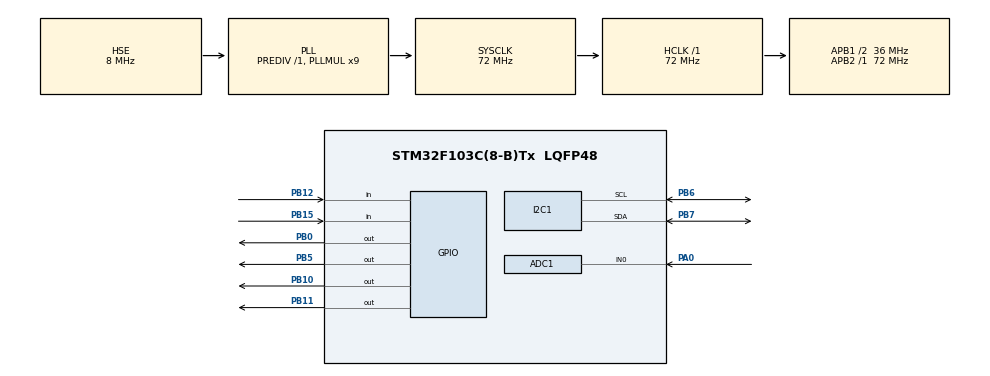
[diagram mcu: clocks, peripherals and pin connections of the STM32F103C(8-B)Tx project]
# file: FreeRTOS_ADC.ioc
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ADC1.Channel-1\#ChannelRegularConversion=ADC_CHANNEL_0
ADC1.ContinuousConvMode=ENABLE
ADC1.NbrOfConversion=1
ADC1.NbrOfConversionFlag=1
ADC1.Rank-1\#ChannelRegularConversion=1
ADC1.SamplingTime-1\#ChannelRegularConversion=ADC_SAMPLETIME_239CYCLES_5
ADC1.master=1
Dma.ADC1.0.Direction=DMA_PERIPH_TO_MEMORY
Dma.ADC1.0.Instance=DMA1_Channel1
Dma.ADC1.0.MemDataAlignment=DMA_MDATAALIGN_HALFWORD
Dma.ADC1.0.MemInc=DMA_MINC_ENABLE
Dma.ADC1.0.Mode=DMA_CIRCULAR
Dma.ADC1.0.PeriphDataAlignment=DMA_PDATAALIGN_HALFWORD
Dma.ADC1.0.PeriphInc=DMA_PINC_DISABLE
Dma.ADC1.0.Priority=DMA_PRIORITY_LOW
Dma.Request0=ADC1
FREERTOS.Mutexes01=I2C_Mutex,Dynamic,NULL,Available
FREERTOS.Queues01=Screen_Queue,4,ScreenMsg_t,0,Dynamic,NULL,NULL
FREERTOS.Tasks01=ADC_Task,24,128,StartTask_ADC,Default,NULL,Dynamic,NULL,NULL;VL53L0X_Task,25,128,StartTask_VL53L0X,Default,NULL,Dynamic,NULL,NULL;Button_Task,26,128,StartTask_Button,Default,NULL,Dynamic,NULL,NULL;OLED_Task,8,128,StartTask_OLED,Default,NULL,Dynamic,NULL,NULL
FREERTOS.configTOTAL_HEAP_SIZE=10240
FREERTOS.configUSE_NEWLIB_REENTRANT=1
Mcu.Family=STM32F1
Mcu.Name=STM32F103C(8-B)Tx
Mcu.Package=LQFP48
NVIC.DMA1_Channel1_IRQn=true\:5\:0\:false\:false\:true\:true\:false\:true\:true
NVIC.PriorityGroup=NVIC_PRIORITYGROUP_4
NVIC.TIM4_IRQn=true\:15\:0\:false\:false\:true\:false\:false\:true\:true
NVIC.TimeBase=TIM4_IRQn
NVIC.TimeBaseIP=TIM4
PA0-WKUP.Signal=ADCx_IN0
PA13.Mode=Serial_Wire
PA13.Signal=SYS_JTMS-SWDIO
PA14.Mode=Serial_Wire
PA14.Signal=SYS_JTCK-SWCLK
PB0.GPIO_ModeDefaultOutputPP=GPIO_MODE_OUTPUT_OD
PB0.GPIO_PuPd=GPIO_PULLUP
PB0.PinState=GPIO_PIN_SET
PB0.Signal=GPIO_Output
PB10.GPIO_ModeDefaultOutputPP=GPIO_MODE_OUTPUT_OD
PB10.GPIO_PuPd=GPIO_PULLUP
PB10.GPIO_Speed=GPIO_SPEED_FREQ_HIGH
PB10.Signal=GPIO_Output
PB11.GPIO_ModeDefaultOutputPP=GPIO_MODE_OUTPUT_OD
PB11.GPIO_PuPd=GPIO_PULLUP
PB11.GPIO_Speed=GPIO_SPEED_FREQ_HIGH
PB11.Signal=GPIO_Output
PB12.GPIO_PuPd=GPIO_PULLUP
PB12.Signal=GPIO_Input
PB15.GPIO_PuPd=GPIO_PULLUP
PB15.Signal=GPIO_Input
PB5.GPIO_PuPd=GPIO_PULLUP
PB5.Signal=GPIO_Output
PB6.Mode=I2C
PB6.Signal=I2C1_SCL
PB7.Mode=I2C
PB7.Signal=I2C1_SDA
PD0-OSC_IN.Mode=HSE-External-Oscillator
PD0-OSC_IN.Signal=RCC_OSC_IN
PD1-OSC_OUT.Mode=HSE-External-Oscillator
PD1-OSC_OUT.Signal=RCC_OSC_OUT
ProjectManager.HeapSize=0x200
ProjectManager.StackSize=0x400
ProjectManager.TargetToolchain=CMake
RCC.ADCPresc=RCC_ADCPCLK2_DIV6
RCC.AHBFreq_Value=72000000
RCC.APB1CLKDivider=RCC_HCLK_DIV2
RCC.APB1Freq_Value=36000000
RCC.APB1TimFreq_Value=72000000
RCC.APB2Freq_Value=72000000
RCC.APB2TimFreq_Value=72000000
RCC.HCLKFreq_Value=72000000
RCC.PLLMUL=RCC_PLL_MUL9
RCC.PLLSourceVirtual=RCC_PLLSOURCE_HSE
RCC.SYSCLKFreq_VALUE=72000000
RCC.SYSCLKSource=RCC_SYSCLKSOURCE_PLLCLK
RCC.USBFreq_Value=72000000
SH.ADCx_IN0.0=ADC2_IN0
SH.ADCx_IN0.1=ADC1_IN0,IN0
VP_ADC1_TempSens_Input.Mode=IN-TempSens
VP_ADC1_Vref_Input.Mode=IN-Vrefint
VP_FREERTOS_VS_CMSIS_V2.Mode=CMSIS_V2
VP_SYS_VS_tim4.Mode=TIM4
board=custom

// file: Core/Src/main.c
/* USER CODE BEGIN Header */
/**
  ******************************************************************************
  * @file           : main.c
  * @brief          : Main program body
  ******************************************************************************
  * @attention
  *
  * Copyright (c) 2026 STMicroelectronics.
  * All rights reserved.
  *
  * This software is licensed under terms that can be found in the LICENSE file
  * in the root directory of this software component.
  * If no LICENSE file comes with this software, it is provided AS-IS.
  *
  ******************************************************************************
  */
/* USER CODE END Header */
#include "main.h"
#include "cmsis_os.h"
#include "adc.h"
#include "dma.h"
#include "i2c.h"
#include "gpio.h"

void SystemClock_Config(void);
void MX_FREERTOS_Init(void);

int main(void)
{

  /* MCU Configuration--------------------------------------------------------*/

  /* Reset of all peripherals, Initializes the Flash interface and the Systick. */
  HAL_Init();

  /* Configure the system clock */
  SystemClock_Config();

  /* Initialize all configured peripherals */
  MX_GPIO_Init();
  MX_DMA_Init();
  MX_ADC1_Init();
  MX_I2C1_Init();
  /* USER CODE BEGIN 2 */

  /* 检测I2C通讯设备状态 */
  // uint8_t addr;
  // HAL_StatusTypeDef result;
  // uint8_t found_devices = 0;

  // for (addr = 1; addr < 128; addr++)
  // {
  //     // HAL_I2C_IsDeviceReady 接收的是左移 1 位后的 8 位地址
  //     result = HAL_I2C_IsDeviceReady(&hi2c1, (addr << 1), 2, 10);
  //     if (result == HAL_OK)
  //     {
  //         found_devices++;
  //         // 发现设备，通过仿真器断点查看 addr 的值
  //         // 如果发现了 0x29 (VL53L0X 7位地址)，说明硬件和地址都通了！
  //         // 如果发现了 0x3C (OLED 7位地址)，说明 OLED 通了！
  //         __NOP();
  //     }
  // }

  BSP_I2C_Init();
  NTC_DMA_Init();
  OLED_Init();
  OLED_ShowString(1, 1, "NTC:");
  OLED_ShowString(2, 1, "LaserRaning:");

  uint8_t error_status = VL53L0X_Init();
  VL53L0X_Errors(error_status);

  // 初始化成功，清除错误提示区域，准备显示测距数据
  OLED_ShowString(3, 1, "Loading...      ");

  /* USER CODE END 2 */

  /* Init scheduler */
  osKernelInitialize();  /* Call init function for freertos objects (in cmsis_os2.c) */
  MX_FREERTOS_Init();

  /* Start scheduler */
  osKernelStart();

  /* We should never get here as control is now taken by the scheduler */

  /* Infinite loop */
  while (1)
  {

  }
}

void SystemClock_Config(void)
{
  RCC_OscInitTypeDef RCC_OscInitStruct = {0};
  RCC_ClkInitTypeDef RCC_ClkInitStruct = {0};
  RCC_PeriphCLKInitTypeDef PeriphClkInit = {0};

  /** Initializes the RCC Oscillators according to the specified parameters
  * in the RCC_OscInitTypeDef structure.
  */
  RCC_OscInitStruct.OscillatorType = RCC_OSCILLATORTYPE_HSE;
  RCC_OscInitStruct.HSEState = RCC_HSE_ON;
  RCC_OscInitStruct.HSEPredivValue = RCC_HSE_PREDIV_DIV1;
  RCC_OscInitStruct.HSIState = RCC_HSI_ON;
  RCC_OscInitStruct.PLL.PLLState = RCC_PLL_ON;
  RCC_OscInitStruct.PLL.PLLSource = RCC_PLLSOURCE_HSE;
  RCC_OscInitStruct.PLL.PLLMUL = RCC_PLL_MUL9;
  if (HAL_RCC_OscConfig(&RCC_OscInitStruct) != HAL_OK)
  {
    Error_Handler();
  }

  /** Initializes the CPU, AHB and APB buses clocks
  */
  RCC_ClkInitStruct.ClockType = RCC_CLOCKTYPE_HCLK|RCC_CLOCKTYPE_SYSCLK
                              |RCC_CLOCKTYPE_PCLK1|RCC_CLOCKTYPE_PCLK2;
  RCC_ClkInitStruct.SYSCLKSource = RCC_SYSCLKSOURCE_PLLCLK;
  RCC_ClkInitStruct.AHBCLKDivider = RCC_SYSCLK_DIV1;
  RCC_ClkInitStruct.APB1CLKDivider = RCC_HCLK_DIV2;
  RCC_ClkInitStruct.APB2CLKDivider = RCC_HCLK_DIV1;

  if (HAL_RCC_ClockConfig(&RCC_ClkInitStruct, FLASH_LATENCY_2) != HAL_OK)
  {
    Error_Handler();
  }
  PeriphClkInit.PeriphClockSelection = RCC_PERIPHCLK_ADC;
  PeriphClkInit.AdcClockSelection = RCC_ADCPCLK2_DIV6;
  if (HAL_RCCEx_PeriphCLKConfig(&PeriphClkInit) != HAL_OK)
  {
    Error_Handler();
  }
}

void HAL_TIM_PeriodElapsedCallback(TIM_HandleTypeDef *htim)
{
  if (htim->Instance == TIM4)
  {
    HAL_IncTick();
  }
}

void Error_Handler(void)
{
  __disable_irq();
  while (1)
  {
  }
}

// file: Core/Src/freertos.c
/* USER CODE BEGIN Header */
/**
  ******************************************************************************
  * File Name          : freertos.c
  * Description        : Code for freertos applications
  ******************************************************************************
  * @attention
  *
  * Copyright (c) 2026 STMicroelectronics.
  * All rights reserved.
  *
  * This software is licensed under terms that can be found in the LICENSE file
  * in the root directory of this software component.
  * If no LICENSE file comes with this software, it is provided AS-IS.
  *
  ******************************************************************************
  */
/* USER CODE END Header */

#include "FreeRTOS.h"
#include "task.h"
#include "main.h"
#include "cmsis_os.h"

/* USER CODE BEGIN PTD */
typedef enum {
  NTC,
  VL53L0X
} Device_t;   // 设备类型枚举

typedef struct {
  Device_t dev;     // 设备类型

  union {
    int val_int;   // 当类型是距离时，用这个存整数
    float val_float; // 当类型是温度时，用这个存浮点数
  } value;           // 联合体，用于存储不同类型的值

} ScreenMsg_t;
/* USER CODE END PTD */

/* USER CODE BEGIN Variables */
uint8_t flag = 0;
uint8_t error_status = 0;
/* USER CODE END Variables */
/* Definitions for ADC_Task */
osThreadId_t ADC_TaskHandle;
const osThreadAttr_t ADC_Task_attributes = {
  .name = "ADC_Task",
  .stack_size = 128 * 4,
  .priority = (osPriority_t) osPriorityNormal,
};
/* Definitions for VL53L0X_Task */
osThreadId_t VL53L0X_TaskHandle;
const osThreadAttr_t VL53L0X_Task_attributes = {
  .name = "VL53L0X_Task",
  .stack_size = 128 * 4,
  .priority = (osPriority_t) osPriorityNormal1,
};
/* Definitions for Button_Task */
osThreadId_t Button_TaskHandle;
const osThreadAttr_t Button_Task_attributes = {
  .name = "Button_Task",
  .stack_size = 128 * 4,
  .priority = (osPriority_t) osPriorityNormal2,
};
/* Definitions for OLED_Task */
osThreadId_t OLED_TaskHandle;
const osThreadAttr_t OLED_Task_attributes = {
  .name = "OLED_Task",
  .stack_size = 128 * 4,
  .priority = (osPriority_t) osPriorityLow,
};
/* Definitions for Screen_Queue */
osMessageQueueId_t Screen_QueueHandle;
const osMessageQueueAttr_t Screen_Queue_attributes = {
  .name = "Screen_Queue"
};
/* Definitions for I2C_Mutex */
osMutexId_t I2C_MutexHandle;
const osMutexAttr_t I2C_Mutex_attributes = {
  .name = "I2C_Mutex"
};

void StartTask_ADC(void *argument);
void StartTask_VL53L0X(void *argument);
void StartTask_Button(void *argument);
void StartTask_OLED(void *argument);

void MX_FREERTOS_Init(void); /* (MISRA C 2004 rule 8.1) */

void MX_FREERTOS_Init(void) {
  /* Create the mutex(es) */
  /* creation of I2C_Mutex */
  I2C_MutexHandle = osMutexNew(&I2C_Mutex_attributes);

  /* Create the queue(s) */
  /* creation of Screen_Queue */
  Screen_QueueHandle = osMessageQueueNew (4, sizeof(ScreenMsg_t), &Screen_Queue_attributes);

  /* Create the thread(s) */
  /* creation of ADC_Task */
  ADC_TaskHandle = osThreadNew(StartTask_ADC, NULL, &ADC_Task_attributes);

  /* creation of VL53L0X_Task */
  VL53L0X_TaskHandle = osThreadNew(StartTask_VL53L0X, NULL, &VL53L0X_Task_attributes);

  /* creation of Button_Task */
  Button_TaskHandle = osThreadNew(StartTask_Button, NULL, &Button_Task_attributes);

  /* creation of OLED_Task */
  OLED_TaskHandle = osThreadNew(StartTask_OLED, NULL, &OLED_Task_attributes);

}

void StartTask_ADC(void *argument)
{
  /* USER CODE BEGIN StartTask_ADC */
  float temperature = 0.0;
  ScreenMsg_t tx_msg;
  /* Infinite loop */
  for(;;)
  {
/*     temperature = NTC_Temperature(NTC_DMA_Value(0));

    if (osMutexAcquire(I2C_MutexHandle, osWaitForever) == osOK)
    {
      OLED_ShowPointNum(1, 5, temperature, 2, 2);

      osMutexRelease(I2C_MutexHandle);
    }

    osDelay(500); */

    // 获取ADC并算出温度
    temperature = NTC_Temperature(NTC_DMA_Value(0));

    /* 准备发送到OLED任务的消息 */
    tx_msg.dev = NTC;
    tx_msg.value.val_float = temperature;

    // 将温度数据发送到OLED任务队列
    osMessageQueuePut(Screen_QueueHandle, &tx_msg, 0, 0);

    osDelay(200);
  }
  /* USER CODE END StartTask_ADC */
}

void StartTask_VL53L0X(void *argument)
{
  /* USER CODE BEGIN StartTask_VL53L0X */
  int distance_mm = 0;
  // char display_buffer[32];
  ScreenMsg_t tx_msg;
  /* Infinite loop */
  for(;;)
  {
/*     if (flag == 1)
    {
      if (osMutexAcquire(I2C_MutexHandle, osWaitForever) == osOK)
      {
        // 抓取最新的绝对毫米距离 (ToF 时间转换值)
        distance_mm = VL53L0X_GetDistance();

        if (distance_mm != 0xFFFF)
        {
          // 如果数据有效 (RangeStatus == 0)
          // 格式化输出字符串，例如 "125 mm" 或 "2000 mm"
          sprintf(display_buffer, "%4d mm         ", distance_mm);

          // 将数据实时刷写到 OLED 屏幕的第 2, 3 页（高度 16 像素）
          OLED_ShowString(3, 1, display_buffer);
        }
        else
        {
          // 如果数据无效（比如超量程、环境光干扰、或手挡住传感器太近了）
          // 在屏幕上闪烁提示 "OUT " (代表 Out of range)
          OLED_ShowString(3, 1, "OUT mm    ");
        }

        osMutexRelease(I2C_MutexHandle);
      }
    }

    else
    {
      if (osMutexAcquire(I2C_MutexHandle, osWaitForever) == osOK)
      {
        OLED_ShowString(3, 1, "Stop            ");
        osMutexRelease(I2C_MutexHandle);
      }
    }

    osDelay(200); */

    if (flag == 1)
    {
      if (osMutexAcquire(I2C_MutexHandle, osWaitForever) == osOK)
      {
        // 抓取最新的绝对毫米距离 (ToF 时间转换值)
        distance_mm = VL53L0X_GetDistance();
        osMutexRelease(I2C_MutexHandle);

        /* 准备发送到OLED任务的消息 */
        tx_msg.dev = VL53L0X;
        tx_msg.value.val_int = distance_mm;

        // 将距离数据发送到OLED任务队列
        osMessageQueuePut(Screen_QueueHandle, &tx_msg, 0, 0);
      }
    }

    else
    {
      if (osMutexAcquire(I2C_MutexHandle, osWaitForever) == osOK)
      {
        OLED_ShowString(3, 1, "Stop            ");
        osMutexRelease(I2C_MutexHandle);
      }
    }

    osDelay(200);
  }
  /* USER CODE END StartTask_VL53L0X */
}

void StartTask_Button(void *argument)
{
  /* USER CODE BEGIN StartTask_Button */
  uint8_t button_12 = 1;
  uint8_t button_15 = 1;
  /* Infinite loop */
  for(;;)
  {
    // 开启激光测量
    if (Check_Button(HAL_GPIO_ReadPin(GPIOB, GPIO_PIN_12), &button_12))
    {
      if (osMutexAcquire(I2C_MutexHandle, osWaitForever) == osOK)
      {
        error_status = VL53L0X_Start();
        VL53L0X_Errors(error_status);   // 检测开启过程是否错误
        flag = 1; // 开启

        osMutexRelease(I2C_MutexHandle);
      }
    }

    // 关闭激光测量
    if (Check_Button(HAL_GPIO_ReadPin(GPIOB, GPIO_PIN_15), &button_15))
    {
      if (osMutexAcquire(I2C_MutexHandle, osWaitForever) == osOK)
      {
        error_status = VL53L0X_Stop();
        VL53L0X_Errors(error_status); // 检测关闭过程是否错误
        flag = 0; // 关闭

        osMutexRelease(I2C_MutexHandle);
      }
    }
    osDelay(20);
  }
  /* USER CODE END StartTask_Button */
}

void StartTask_OLED(void *argument)
{
  /* USER CODE BEGIN StartTask_OLED */
  ScreenMsg_t rx_msg;
  char display_buffer[32];
  /* Infinite loop */
  for(;;)
  {
    if (osMessageQueueGet(Screen_QueueHandle, &rx_msg, NULL, osWaitForever) == osOK)
    {
      switch (rx_msg.dev)
      {
        case NTC:
          if (osMutexAcquire(I2C_MutexHandle, osWaitForever) == osOK)
          {
            OLED_ShowPointNum(1, 5, rx_msg.value.val_float, 2, 2);
            osMutexRelease(I2C_MutexHandle);
          }
          break;

        case VL53L0X:
            if (rx_msg.value.val_int != 0xFFFF)
            {
              // 如果数据有效 (RangeStatus == 0)
              // 格式化输出字符串，例如 "125 mm" 或 "2000 mm"
              sprintf(display_buffer, "%4d mm         ", rx_msg.value.val_int);

              // 将数据实时刷写到 OLED 屏幕
              if (osMutexAcquire(I2C_MutexHandle, osWaitForever) == osOK)
              {
                OLED_ShowString(3, 1, display_buffer);
                osMutexRelease(I2C_MutexHandle);
              }
            }
            else
            {
              // 如果数据无效（比如超量程、环境光干扰、或手挡住传感器太近了）
              // 在屏幕上闪烁提示 "OUT " (代表 Out of range)
              if (osMutexAcquire(I2C_MutexHandle, osWaitForever) == osOK)
              {
                OLED_ShowString(3, 1, "OUT mm    ");
                osMutexRelease(I2C_MutexHandle);
              }
            }

          break;

        default:
          break;
      }
    }
  }
  /* USER CODE END StartTask_OLED */
}
